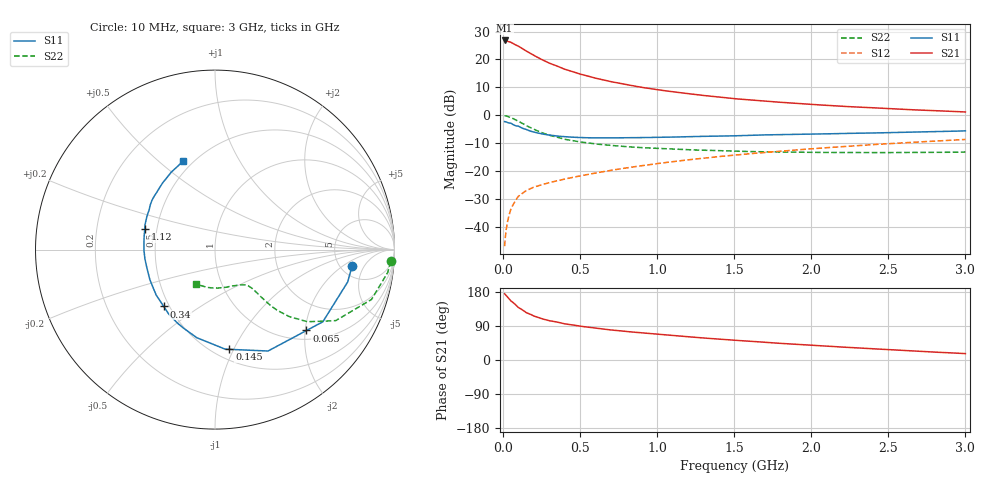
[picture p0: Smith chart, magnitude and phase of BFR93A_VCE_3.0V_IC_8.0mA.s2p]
! Infineon Technologies  Discrete & RF Semiconductors
! BFR93A
! VCE =  3.0 V,  IC =  8.0 mA
! Common Emitter S-Parameters:  Nov 2015
# GHz  S  MA  R  50
!  f  S11  S21  S12  S22
! GHz  MAG  ANG  MAG  ANG  MAG  ANG  MAG  ANG
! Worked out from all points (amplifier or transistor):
!   180 points, 10 MHz to 3 GHz, reference 50 ohm
!   highest |S21| = 26.8 dB at 10 MHz (marker M1)
!   |S21| within 3 dB of that: start of sweep to 126.9 MHz
!   unconditionally stable (mu >= 1): 615.3 MHz to 2.87 GHz
!   at 160 MHz: K = 0.45, MSG = 24.7 dB, |S12| = -26.8 dB
!   at 1.22 GHz: K = 1.11, MAG = 9.8 dB, |S12| = -15.9 dB
!   at 3 GHz: K = 0.99, MSG = 4.9 dB, |S12| = -8.7 dB
!   S11 on the Smith chart (normalised r, x): 10 MHz: 6.30, -2.89; 65 MHz: 1.21, -2.03; 145 MHz: 0.59, -0.96; 340 MHz: 0.47, -0.36; 1.12 GHz: 0.43, +0.12; 3 GHz: 0.44, +0.61
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0.01  0.7688 -7.0  21.92 174.8  0.0045 86.6  0.9807 -3.8
0.02  0.761 -13.7  21.69 169.9  0.0088 83.3  0.9712 -7.5
0.05  0.723 -33.8  20.4 156.3  0.0205 73.9  0.915 -17.7
0.065  0.6802 -41.5  19.28 151.6  0.0249 69.3  0.8703 -21.1
0.1  0.6376 -62.4  17.29 138.4  0.0354 63.1  0.7801 -30.5
0.145  0.5614 -81.8  14.47 126.7  0.0436 57.3  0.6649 -37.1
0.15  0.5575 -84.2  14.2 125.1  0.0445 56.8  0.6527 -38.0
0.2  0.5014 -101.6  11.8 116.0  0.0515 54.3  0.5585 -42.0
0.24  0.4707 -112.2  10.33 110.5  0.0557 53.4  0.5024 -43.7
0.26  0.4598 -117.1  9.696 108.0  0.0578 53.2  0.4784 -44.4
0.3  0.4421 -125.6  8.603 103.7  0.0619 53.4  0.4386 -45.2
0.34  0.4265 -132.0  7.817 100.9  0.0659 53.9  0.4117 -45.4
0.4  0.4141 -142.4  6.684 95.4  0.0718 54.6  0.3714 -45.8
0.52  0.3975 -157.1  5.299 88.2  0.0838 56.2  0.327 -45.9
0.7  0.3939 -172.5  4.004 79.3  0.1029 58.2  0.2875 -46.7
0.82  0.3958 179.6  3.457 74.5  0.116 59.0  0.2713 -47.8
1.02  0.4025 168.2  2.823 67.4  0.1382 59.2  0.2536 -50.7
1.12  0.4073 163.8  2.597 64.0  0.1495 59.1  0.2465 -52.8
1.52  0.4295 148.5  1.963 51.7  0.1951 57.5  0.2266 -62.9
2.02  0.4584 133.8  1.554 38.5  0.2526 53.7  0.216 -78.9
2.52  0.4893 121.3  1.308 27.0  0.3116 48.6  0.2144 -97.3
3  0.5251 109.8  1.146 16.9  0.3682 43.0  0.2194 -118.7
